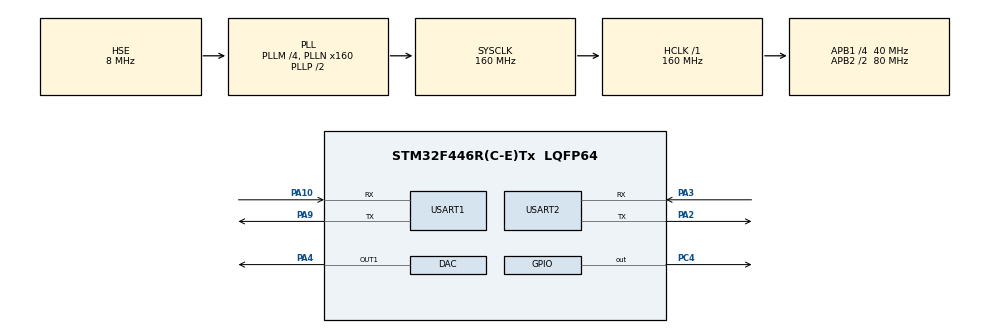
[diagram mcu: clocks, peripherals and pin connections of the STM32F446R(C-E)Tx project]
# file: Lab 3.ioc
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Mcu.Family=STM32F4
Mcu.Name=STM32F446R(C-E)Tx
Mcu.Package=LQFP64
NVIC.PriorityGroup=NVIC_PRIORITYGROUP_4
NVIC.TIM2_IRQn=true\:0\:0\:false\:false\:true\:true\:true\:true
NVIC.USART1_IRQn=true\:0\:0\:false\:false\:true\:true\:true\:true
NVIC.USART2_IRQn=true\:0\:0\:false\:false\:true\:true\:true\:true
PA10.Mode=Asynchronous
PA10.Signal=USART1_RX
PA2.Mode=Asynchronous
PA2.Signal=USART2_TX
PA3.Mode=Asynchronous
PA3.Signal=USART2_RX
PA4.Signal=COMP_DAC1_group
PA9.Mode=Asynchronous
PA9.Signal=USART1_TX
PC4.Signal=GPIO_Output
PH0-OSC_IN.Mode=HSE-External-Oscillator
PH0-OSC_IN.Signal=RCC_OSC_IN
PH1-OSC_OUT.Mode=HSE-External-Oscillator
PH1-OSC_OUT.Signal=RCC_OSC_OUT
ProjectManager.HeapSize=0x200
ProjectManager.StackSize=0x400
ProjectManager.TargetToolchain=STM32CubeIDE
RCC.AHBFreq_Value=160000000
RCC.APB1CLKDivider=RCC_HCLK_DIV4
RCC.APB1Freq_Value=40000000
RCC.APB1TimFreq_Value=80000000
RCC.APB2CLKDivider=RCC_HCLK_DIV2
RCC.APB2Freq_Value=80000000
RCC.APB2TimFreq_Value=160000000
RCC.CortexFreq_Value=160000000
RCC.HCLKFreq_Value=160000000
RCC.HSE_VALUE=8000000
RCC.PLLM=4
RCC.PLLN=160
RCC.PLLSourceVirtual=RCC_PLLSOURCE_HSE
RCC.SYSCLKFreq_VALUE=160000000
RCC.SYSCLKSource=RCC_SYSCLKSOURCE_PLLCLK
RCC.USBFreq_Value=160000000
RCC.VCOOutputFreq_Value=320000000
SH.COMP_DAC1_group.0=DAC_OUT1,DAC_OUT1
TIM2.Period=160000
TIM2.Prescaler=999
USART1.VirtualMode=VM_ASYNC
USART2.VirtualMode=VM_ASYNC
VP_TIM2_VS_ClockSourceINT.Mode=Internal
board=custom

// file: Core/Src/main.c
/* USER CODE BEGIN Header */
/**
  ******************************************************************************
  * @file           : main.c
  * @brief          : Main program body
  ******************************************************************************
  * @attention
  *
  * Copyright (c) 2024 STMicroelectronics.
  * All rights reserved.
  *
  * This software is licensed under terms that can be found in the LICENSE file
  * in the root directory of this software component.
  * If no LICENSE file comes with this software, it is provided AS-IS.
  *
  ******************************************************************************
  */
/* USER CODE END Header */
#include "main.h"

/* USER CODE BEGIN PD */
uint32_t time = 0;
/* USER CODE END PD */

DAC_HandleTypeDef hdac;

TIM_HandleTypeDef htim2;

UART_HandleTypeDef huart1;
UART_HandleTypeDef huart2;

void SystemClock_Config(void);
static void MX_GPIO_Init(void);
static void MX_DAC_Init(void);
static void MX_USART1_UART_Init(void);
static void MX_TIM2_Init(void);
static void MX_USART2_UART_Init(void);

/* USER CODE BEGIN 0 */
int freq;
int val;
float scale;
#define RX_BUFFER_SIZE 4
uint8_t buffer[RX_BUFFER_SIZE];

/* USER CODE END 0 */

int main(void)
{
  freq = 10;
  val = 1 * 1000;

  /* MCU Configuration--------------------------------------------------------*/

  /* Reset of all peripherals, Initializes the Flash interface and the Systick. */
  HAL_Init();

  /* Configure the system clock */
  SystemClock_Config();

  /* Initialize all configured peripherals */
  MX_GPIO_Init();
  MX_DAC_Init();
  MX_USART1_UART_Init();
  MX_TIM2_Init();
  MX_USART2_UART_Init();
  /* USER CODE BEGIN 2 */
  HAL_DAC_Start(&hdac, DAC_CHANNEL_1);
  HAL_TIM_Base_Start_IT(&htim2);
  /* USER CODE END 2 */

  /* Infinite loop */
  /* USER CODE BEGIN WHILE */
  HAL_UART_Receive_IT(&huart2, &buffer, RX_BUFFER_SIZE);
  while (1)
  {

    // HAL_DAC_SetValue(&hdac, DAC_CHANNEL_1, DAC_ALIGN_12B_R, 2048);
    // HAL_Delay(100);
    // HAL_DAC_SetValue(&hdac, DAC_CHANNEL_1, DAC_ALIGN_12B_R, 4095);
    // HAL_Delay(100);
    // HAL_DAC_SetValue(&hdac, DAC_CHANNEL_1, DAC_ALIGN_12B_R, 0);
    // HAL_Delay(100);
    /* USER CODE END WHILE */

  }
}

void SystemClock_Config(void)
{
  RCC_OscInitTypeDef RCC_OscInitStruct = {0};
  RCC_ClkInitTypeDef RCC_ClkInitStruct = {0};

  /** Configure the main internal regulator output voltage
  */
  __HAL_RCC_PWR_CLK_ENABLE();
  __HAL_PWR_VOLTAGESCALING_CONFIG(PWR_REGULATOR_VOLTAGE_SCALE1);

  /** Initializes the RCC Oscillators according to the specified parameters
  * in the RCC_OscInitTypeDef structure.
  */
  RCC_OscInitStruct.OscillatorType = RCC_OSCILLATORTYPE_HSE;
  RCC_OscInitStruct.HSEState = RCC_HSE_ON;
  RCC_OscInitStruct.PLL.PLLState = RCC_PLL_ON;
  RCC_OscInitStruct.PLL.PLLSource = RCC_PLLSOURCE_HSE;
  RCC_OscInitStruct.PLL.PLLM = 4;
  RCC_OscInitStruct.PLL.PLLN = 160;
  RCC_OscInitStruct.PLL.PLLP = RCC_PLLP_DIV2;
  RCC_OscInitStruct.PLL.PLLQ = 2;
  RCC_OscInitStruct.PLL.PLLR = 2;
  if (HAL_RCC_OscConfig(&RCC_OscInitStruct) != HAL_OK)
  {
    Error_Handler();
  }

  /** Initializes the CPU, AHB and APB buses clocks
  */
  RCC_ClkInitStruct.ClockType = RCC_CLOCKTYPE_HCLK|RCC_CLOCKTYPE_SYSCLK
                              |RCC_CLOCKTYPE_PCLK1|RCC_CLOCKTYPE_PCLK2;
  RCC_ClkInitStruct.SYSCLKSource = RCC_SYSCLKSOURCE_PLLCLK;
  RCC_ClkInitStruct.AHBCLKDivider = RCC_SYSCLK_DIV1;
  RCC_ClkInitStruct.APB1CLKDivider = RCC_HCLK_DIV4;
  RCC_ClkInitStruct.APB2CLKDivider = RCC_HCLK_DIV2;

  if (HAL_RCC_ClockConfig(&RCC_ClkInitStruct, FLASH_LATENCY_5) != HAL_OK)
  {
    Error_Handler();
  }
}

static void MX_DAC_Init(void)
{

  DAC_ChannelConfTypeDef sConfig = {0};

  /** DAC Initialization
  */
  hdac.Instance = DAC;
  if (HAL_DAC_Init(&hdac) != HAL_OK)
  {
    Error_Handler();
  }

  /** DAC channel OUT1 config
  */
  sConfig.DAC_Trigger = DAC_TRIGGER_NONE;
  sConfig.DAC_OutputBuffer = DAC_OUTPUTBUFFER_ENABLE;
  if (HAL_DAC_ConfigChannel(&hdac, &sConfig, DAC_CHANNEL_1) != HAL_OK)
  {
    Error_Handler();
  }

}

static void MX_TIM2_Init(void)
{

  TIM_ClockConfigTypeDef sClockSourceConfig = {0};
  TIM_MasterConfigTypeDef sMasterConfig = {0};

  htim2.Instance = TIM2;
  htim2.Init.Prescaler = 79;
  htim2.Init.CounterMode = TIM_COUNTERMODE_UP;
  htim2.Init.Period = 999;
  htim2.Init.ClockDivision = TIM_CLOCKDIVISION_DIV1;
  htim2.Init.AutoReloadPreload = TIM_AUTORELOAD_PRELOAD_DISABLE;
  if (HAL_TIM_Base_Init(&htim2) != HAL_OK)
  {
    Error_Handler();
  }
  sClockSourceConfig.ClockSource = TIM_CLOCKSOURCE_INTERNAL;
  if (HAL_TIM_ConfigClockSource(&htim2, &sClockSourceConfig) != HAL_OK)
  {
    Error_Handler();
  }
  sMasterConfig.MasterOutputTrigger = TIM_TRGO_RESET;
  sMasterConfig.MasterSlaveMode = TIM_MASTERSLAVEMODE_DISABLE;
  if (HAL_TIMEx_MasterConfigSynchronization(&htim2, &sMasterConfig) != HAL_OK)
  {
    Error_Handler();
  }

}

static void MX_USART1_UART_Init(void)
{

  huart1.Instance = USART1;
  huart1.Init.BaudRate = 115200;
  huart1.Init.WordLength = UART_WORDLENGTH_8B;
  huart1.Init.StopBits = UART_STOPBITS_1;
  huart1.Init.Parity = UART_PARITY_NONE;
  huart1.Init.Mode = UART_MODE_TX_RX;
  huart1.Init.HwFlowCtl = UART_HWCONTROL_NONE;
  huart1.Init.OverSampling = UART_OVERSAMPLING_16;
  if (HAL_UART_Init(&huart1) != HAL_OK)
  {
    Error_Handler();
  }

}

static void MX_USART2_UART_Init(void)
{

  huart2.Instance = USART2;
  huart2.Init.BaudRate = 115200;
  huart2.Init.WordLength = UART_WORDLENGTH_8B;
  huart2.Init.StopBits = UART_STOPBITS_1;
  huart2.Init.Parity = UART_PARITY_NONE;
  huart2.Init.Mode = UART_MODE_TX_RX;
  huart2.Init.HwFlowCtl = UART_HWCONTROL_NONE;
  huart2.Init.OverSampling = UART_OVERSAMPLING_16;
  if (HAL_UART_Init(&huart2) != HAL_OK)
  {
    Error_Handler();
  }

}

static void MX_GPIO_Init(void)
{
  GPIO_InitTypeDef GPIO_InitStruct = {0};

  /* GPIO Ports Clock Enable */
  __HAL_RCC_GPIOH_CLK_ENABLE();
  __HAL_RCC_GPIOA_CLK_ENABLE();
  __HAL_RCC_GPIOC_CLK_ENABLE();

  /*Configure GPIO pin Output Level */
  HAL_GPIO_WritePin(GPIOC, GPIO_PIN_4, GPIO_PIN_RESET);

  /*Configure GPIO pin : PC4 */
  GPIO_InitStruct.Pin = GPIO_PIN_4;
  GPIO_InitStruct.Mode = GPIO_MODE_OUTPUT_PP;
  GPIO_InitStruct.Pull = GPIO_NOPULL;
  GPIO_InitStruct.Speed = GPIO_SPEED_FREQ_LOW;
  HAL_GPIO_Init(GPIOC, &GPIO_InitStruct);

}

/* USER CODE BEGIN 4 */

void processCommand(char buffer[RX_BUFFER_SIZE])
{
  uint8_t command = buffer[1];
  uint8_t value1 = buffer[2];

  switch(command){
    case 0xbb:
      freq = value1;
      break;
    case 0xdd:
      val = value1 * 100;
      break;
    default:
      break;
  }
}

void write_sin(){
    scale = (float) val / 3300;
    HAL_DAC_SetValue(&hdac, DAC_CHANNEL_1, DAC_ALIGN_12B_R, (uint32_t)(2048 * scale + 2047 * scale * sin(time * 2 * 3.14159 * freq / 1000)));
}

void HAL_TIM_PeriodElapsedCallback(TIM_HandleTypeDef *htim)
{
  if (htim->Instance == TIM2)
  {
    // HAL_GPIO_TogglePin(GPIOC, GPIO_PIN_4);
    time++; // 1khz (or 2)
    write_sin();
  }
}

void HAL_UART_RxCpltCallback(UART_HandleTypeDef *huart)
{
  HAL_UART_Receive_IT(&huart2, &buffer, RX_BUFFER_SIZE);

  if(buffer[0] == '\r' && buffer[RX_BUFFER_SIZE - 1] == '\n'){
    processCommand(buffer);
  } else{
    // HAL_UART_Transmit_IT(&huart2, "Invalid command\r\n", 17);
  }

}

/* USER CODE END 4 */

void Error_Handler(void)
{
  __disable_irq();
  while (1)
  {
  }
}
